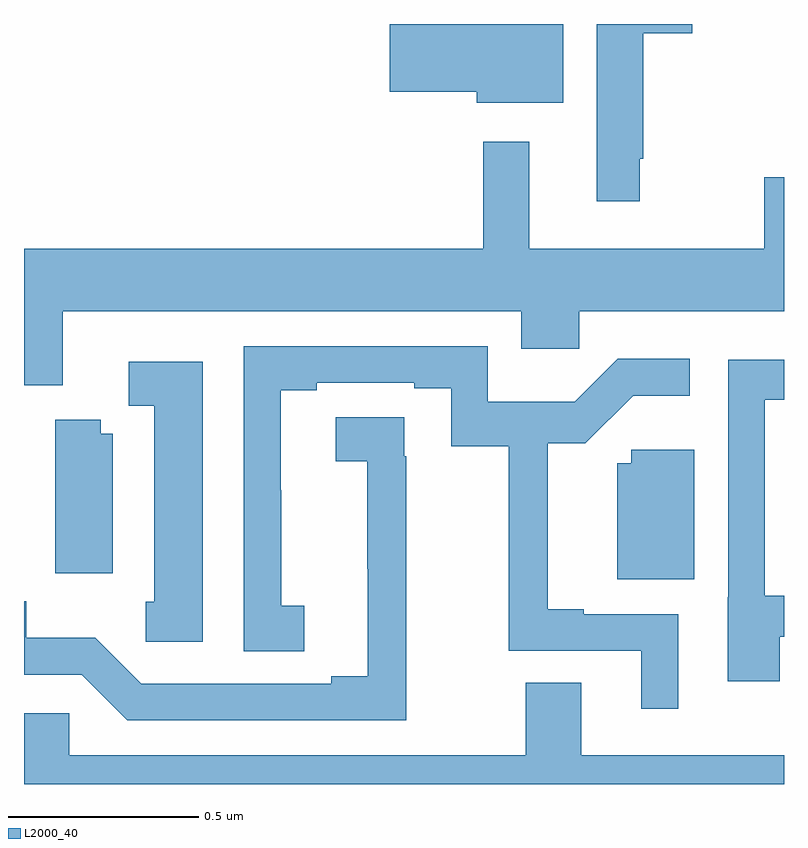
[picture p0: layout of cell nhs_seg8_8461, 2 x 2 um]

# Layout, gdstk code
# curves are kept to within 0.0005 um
import gdstk
lib = gdstk.Library(unit=1e-6, precision=1e-09)
def P(c, l, *ps):  # polygons
    for p in ps: c.add(gdstk.Polygon(p, *l))
L2000_40 = (2000, 40)

nhs_seg8_8461 = lib.new_cell('nhs_seg8_8461')
P(nhs_seg8_8461, L2000_40, [(224.621,1139.545),(224.629,1139.545),(224.629,1139.876),(224.758,1139.876),(224.758,1139.9),(224.507,1139.9),(224.507,1139.433),(224.621,1139.433)],
  [(224.419,1139.9),(223.962,1139.9),(223.962,1139.722),(224.192,1139.722),(224.192,1139.693),(224.419,1139.693)],
  [(223.102,1139.144),(224.309,1139.144),(224.309,1139.046),(224.461,1139.046),(224.461,1139.144),(225,1139.144),(225,1139.497),(224.948,1139.497),(224.948,1139.308),(224.329,1139.308),(224.329,1139.59),(224.208,1139.59),(224.208,1139.308),(223,1139.308),(223,1138.95),(223.102,1138.95)],
  [(224.722,1138.347),(224.473,1138.347),(224.473,1138.36),(224.378,1138.36),(224.378,1138.797),(224.477,1138.797),(224.603,1138.922),(224.752,1138.922),(224.752,1139.019),(224.562,1139.019),(224.449,1138.906),(224.22,1138.906),(224.22,1139.052),(223.578,1139.052),(223.578,1138.249),(223.738,1138.249),(223.738,1138.369),(223.677,1138.369),(223.677,1138.673),(223.675,1138.673),(223.675,1138.936),(223.771,1138.936),(223.771,1138.956),(224.027,1138.956),(224.027,1138.942),(224.124,1138.942),(224.124,1138.789),(224.275,1138.789),(224.275,1138.251),(224.624,1138.251),(224.624,1138.098),(224.722,1138.098)],
  [(224.989,1138.287),(225,1138.287),(225,1138.395),(224.949,1138.395),(224.949,1138.911),(225,1138.911),(225,1139.017),(224.853,1139.017),(224.853,1138.392),(224.852,1138.392),(224.852,1138.17),(224.989,1138.17)],
  [(223.471,1139.011),(223.275,1139.011),(223.275,1138.896),(223.343,1138.896),(223.343,1138.38),(223.321,1138.38),(223.321,1138.275),(223.471,1138.275)],
  [(224.006,1138.763),(224,1138.763),(224,1138.865),(223.821,1138.865),(223.821,1138.75),(223.903,1138.75),(223.904,1138.184),(223.808,1138.184),(223.808,1138.164),(223.308,1138.164),(223.187,1138.285),(223.006,1138.285),(223.006,1138.381),(223,1138.381),(223,1138.188),(223.152,1138.188),(223.272,1138.068),(224.006,1138.068)],
  [(223.234,1138.822),(223.202,1138.822),(223.202,1138.859),(223.082,1138.859),(223.082,1138.455),(223.234,1138.455)],
  [(224.764,1138.78),(224.598,1138.78),(224.598,1138.744),(224.561,1138.744),(224.561,1138.439),(224.764,1138.439)],
  [(225,1137.976),(224.467,1137.976),(224.467,1138.166),(224.32,1138.166),(224.32,1137.976),(223.119,1137.976),(223.119,1138.086),(223,1138.086),(223,1137.9),(225,1137.9)])

lib.write_gds('nhs_seg8_8461.gds')
